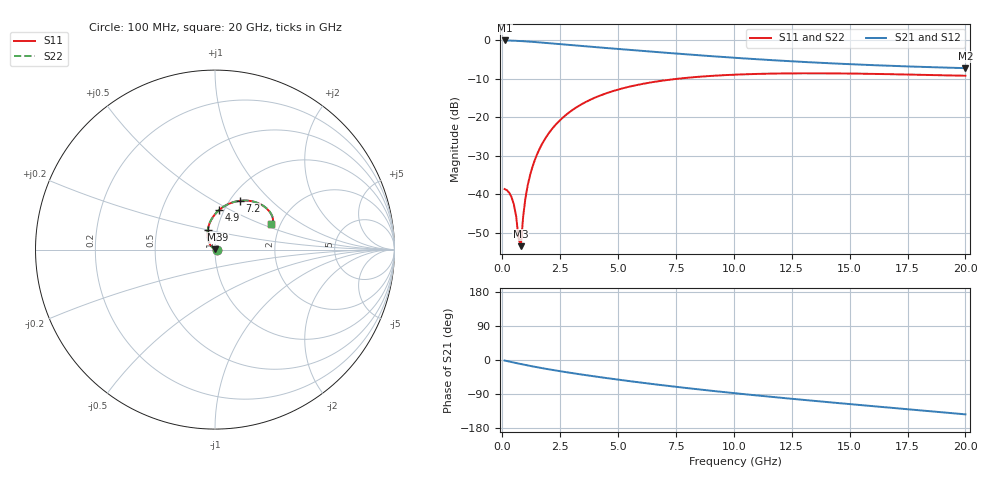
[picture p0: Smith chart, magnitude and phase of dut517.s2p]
! Touchstone file exported from HFSS 2024.1.0
!  File:  C:/UserFiles/LocalFiles/RDL_TSV_Batchsim/temp_RDL_TSV_517_1779741415.aedt
!  Generated:  04:55:24 AM May 26, 2026
!  Design:  RDL_TSV
!  Project:  temp_RDL_TSV_517_1779741415
!  Setup:  Setup1
!  Solution:  Sweep
! Variables:
!  dtsv = 9.82um
!  hbump = 3um
!  htsv = 70.41um
!  ldown = 142.43um
!  lrdl = 361.87um
!  p = 40
!  p1 = 55.91um
!  rhole = 10um
!  subl = 1874.77um
!  t = 450um
!  tdown = 4.87um
!  trdl = 2.65um
!  viad = 10um
!  wdown = 27.7um
!  wrdl = 19.74um
!  xbump = 18um
# GHz S MA R 50.000000
! Terminal data exported
! Port[1] = TM1_1_T1
! Port[2] = TM1_4_T1
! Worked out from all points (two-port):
!   200 points, 100 MHz to 20 GHz, reference 50 ohm
!   highest |S21| = -0.11 dB at 100 MHz (marker M1); lowest = -7.3 dB at 20 GHz (marker M2)
!   |S21| within 3 dB of the highest: start of sweep to 6.657 GHz
!   lowest |S11| = -53.5 dB at 800 MHz (marker M3), VSWR 1.00, Z = 50 + j0.208 ohm
!   |S11| at or under -10 dB: start of sweep to 7.639 GHz
!   |S22| runs from -53.5 to -8.6 dB; largest |S21 - S12| = 9.3e-15
!   S11 on the Smith chart (normalised r, x): 100 MHz: 1.02, +0.00; 2.9 GHz: 0.90, +0.20; 4.9 GHz: 0.95, +0.44; 7.2 GHz: 1.11, +0.67; 20 GHz: 1.80, +0.58
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0.1  0.01168 0.1  0.9878 -1.4  0.9878 -1.4  0.01168 0.1
! Gamma 0 0 0 0
! Port Impedance 50 0 50 0
0.3  0.01046 -0.9  0.9849 -4.1  0.9849 -4.1  0.01046 -0.9
0.5  0.007372 -1.1  0.9802 -6.8  0.9802 -6.8  0.007369 -1.1
0.6  0.005145 2.5  0.9772 -8.1  0.9772 -8.1  0.005141 2.6
0.7  0.002704 20.7  0.9739 -9.4  0.9739 -9.4  0.0027 20.7
0.8  0.002121 100.6  0.9702 -10.6  0.9702 -10.6  0.002125 100.7
0.9  0.005091 134.1  0.9663 -11.9  0.9663 -11.9  0.005101 134.2
1  0.008913 140.4  0.9621 -13.1  0.9621 -13.1  0.008925 140.4
1.2  0.01769 140.9  0.9529 -15.6  0.9529 -15.6  0.01771 141.0
1.4  0.02756 138.1  0.9431 -17.9  0.9431 -17.9  0.02759 138.1
1.7  0.04388 132.4  0.9274 -21.3  0.9274 -21.3  0.04391 132.4
2  0.06137 126.5  0.9114 -24.5  0.9114 -24.5  0.06142 126.6
2.4  0.08561 119.0  0.89 -28.6  0.89 -28.6  0.08568 119.0
2.9  0.1161 110.4  0.8639 -33.5  0.8639 -33.5  0.1162 110.4
3.5  0.1513 101.2  0.8342 -39.0  0.8342 -39.0  0.1515 101.2
4.9  0.2233 83.6  0.7705 -51.0  0.7705 -51.0  0.2235 83.7
6.8  0.2941 66.0  0.6939 -65.7  0.6939 -65.7  0.2943 66.0
7.2  0.3053 63.0  0.6791 -68.6  0.6791 -68.6  0.3055 63.0
10.1  0.3562 45.6  0.587 -88.0  0.587 -88.0  0.3566 45.6
13.4  0.3705 33.3  0.5128 -107.5  0.5128 -107.5  0.3709 33.3
16.7  0.361 26.4  0.4639 -125.6  0.4639 -125.6  0.3615 26.4
20  0.3443 24.2  0.432 -143.4  0.432 -143.4  0.3448 24.2
